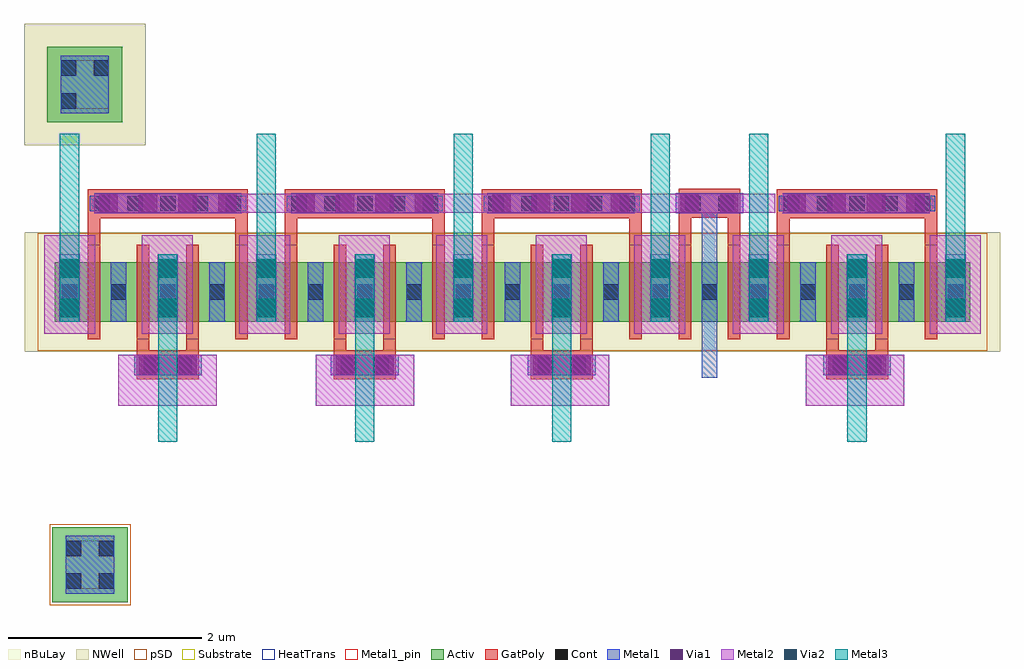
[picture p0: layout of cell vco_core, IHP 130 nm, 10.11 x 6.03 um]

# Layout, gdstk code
from math import pi, radians
import gdstk
lib = gdstk.Library(unit=1e-6, precision=1e-09)
def R(c, l, rs):  # rectangles x0, y0, x1, y1
    for r in rs: c.add(gdstk.rectangle(r[:2], r[2:], *l))
def A(c, l, x, y, w, h, nx, ny, dx, dy):  # array of equal rectangles
    R(c, l, [(x+i*dx, y+j*dy, x+i*dx+w, y+j*dy+h) for i in range(nx) for j in range(ny)])
Activ = (1, 0)
GatPoly = (5, 0)
Cont = (6, 0)
Metal1 = (8, 0)
Metal1_pin = (8, 2)
Metal2 = (10, 0)
pSD = (14, 0)
Via1 = (19, 0)
Via2 = (29, 0)
Metal3 = (30, 0)
NWell = (31, 0)
nBuLay = (32, 0)
Substrate = (40, 0)
HeatTrans = (51, 0)

ptap = lib.new_cell('ptap')
R(ptap, Activ, [(-0.425,-1.215,0.355,-0.435)])
R(ptap, Cont, [(-0.285,-1.075,-0.125,-0.915), (0.055,-1.075,0.215,-0.915), (-0.285,-0.735,-0.125,-0.575), (0.055,-0.735,0.215,-0.575)])
R(ptap, Metal1, [(-0.285,-1.125,0.215,-0.525)])
R(ptap, Metal1_pin, [(-0.285,-1.075,0.215,-0.575)])
R(ptap, pSD, [(-0.455,-1.245,0.385,-0.405)])

ntap = lib.new_cell('ntap')
R(ntap, Activ, [(-0.665,-0.22,0.115,0.56)])
R(ntap, Cont, [(-0.525,-0.08,-0.365,0.08), (-0.525,0.26,-0.365,0.42), (-0.185,0.26,-0.025,0.42)])
R(ntap, Metal1, [(-0.525,-0.13,-0.025,0.47)])
R(ntap, Metal1_pin, [(-0.525,-0.08,-0.025,0.42)])
R(ntap, NWell, [(-0.905,-0.46,0.355,0.8)])
R(ntap, nBuLay, [(-0.905,-0.46,0.355,0.8)])

pmos = lib.new_cell('pmos')
A(pmos, Activ, 0, 0, 0.3, 0.3, 19, 1, 0.51, 0)
R(pmos, Activ, [(0,0,9.48,0.62)])
A(pmos, GatPoly, 0.34, -0.18, 0.13, 0.98, 18, 1, 0.51, 0)
R(pmos, GatPoly, [(0.34,-0.18,0.47,0.8)])
A(pmos, Cont, 0.07, 0.23, 0.16, 0.16, 19, 1, 0.51, 0)
A(pmos, Metal1, 0.58, 0, 0.16, 0.62, 18, 1, 0.51, 0)
R(pmos, Metal1, [(0.07,0,0.23,0.62), (0.07,0,0.23,0.62), (0.58,0,0.74,0.62)])
R(pmos, pSD, [(-0.18,-0.3,9.66,0.92)])
R(pmos, NWell, [(-0.31,-0.31,9.79,0.93)])
R(pmos, Substrate, [(9.18,0,9.48,0.3)])
A(pmos, HeatTrans, 0.34, -0.18, 0.13, 0.98, 18, 1, 0.51, 0)
pmos.add(gdstk.Label('pmos', (0.405,0.31), layer=63, texttype=0))
pmos.add(gdstk.Label('pmos', (0.405,0.31), layer=51, texttype=0))
pmos.add(gdstk.Label('pmos', (0.915,0.31), layer=51, texttype=0))
pmos.add(gdstk.Label('pmos', (1.425,0.31), layer=51, texttype=0))
pmos.add(gdstk.Label('pmos', (1.935,0.31), layer=51, texttype=0))
pmos.add(gdstk.Label('pmos', (2.445,0.31), layer=51, texttype=0))
pmos.add(gdstk.Label('pmos', (2.955,0.31), layer=51, texttype=0))
pmos.add(gdstk.Label('pmos', (3.465,0.31), layer=51, texttype=0))
pmos.add(gdstk.Label('pmos', (3.975,0.31), layer=51, texttype=0))
pmos.add(gdstk.Label('pmos', (4.485,0.31), layer=51, texttype=0))
pmos.add(gdstk.Label('pmos', (4.995,0.31), layer=51, texttype=0))
pmos.add(gdstk.Label('pmos', (5.505,0.31), layer=51, texttype=0))
pmos.add(gdstk.Label('pmos', (6.015,0.31), layer=51, texttype=0))
pmos.add(gdstk.Label('pmos', (6.525,0.31), layer=51, texttype=0))
pmos.add(gdstk.Label('pmos', (7.035,0.31), layer=51, texttype=0))
pmos.add(gdstk.Label('pmos', (7.545,0.31), layer=51, texttype=0))
pmos.add(gdstk.Label('pmos', (8.055,0.31), layer=51, texttype=0))
pmos.add(gdstk.Label('pmos', (8.565,0.31), layer=51, texttype=0))
pmos.add(gdstk.Label('pmos', (9.075,0.31), layer=51, texttype=0))

via = lib.new_cell('Via')
R(via, GatPoly, [(-0.32,-0.15,0.32,0.15)])
R(via, Cont, [(-0.25,-0.08,-0.09,0.08), (0.09,-0.08,0.25,0.08)])
R(via, Metal1, [(-0.3,-0.08,0.3,0.08)])

via_3 = lib.new_cell('Via$3')
R(via_3, GatPoly, [(-0.15,-0.83,0.15,0.83)])
A(via_3, Cont, -0.08, -0.76, 0.16, 0.16, 1, 5, 0, 0.34)
R(via_3, Metal1, [(-0.08,-0.81,0.08,0.81)])

via_2 = lib.new_cell('Via$2')
R(via_2, Metal1, [(-0.105,-0.35,0.105,0.35)])
R(via_2, Metal2, [(-0.1,-0.35,0.1,0.35)])
R(via_2, Via1, [(-0.095,-0.3,0.095,-0.11), (-0.095,0.11,0.095,0.3)])

via_4 = lib.new_cell('Via$4')
R(via_4, Metal2, [(-0.35,-0.1,0.35,0.1)])
R(via_4, Via2, [(-0.3,-0.095,-0.11,0.095), (0.11,-0.095,0.3,0.095)])
R(via_4, Metal3, [(-0.35,-0.1,0.35,0.1)])

via_6 = lib.new_cell('Via$6')
R(via_6, Metal1, [(-0.35,-0.105,0.35,0.105)])
R(via_6, Metal2, [(-0.35,-0.1,0.35,0.1)])
R(via_6, Via1, [(-0.3,-0.095,-0.11,0.095), (0.11,-0.095,0.3,0.095)])

via_7 = lib.new_cell('Via$7')
R(via_7, Metal1, [(-0.76,-0.105,0.76,0.105)])
R(via_7, Metal2, [(-0.76,-0.1,0.76,0.1)])
A(via_7, Via1, -0.71, -0.095, 0.19, 0.19, 4, 1, 0.41, 0)

vco_core = lib.new_cell('vco_core')
A(vco_core, GatPoly, 1.16, 3.295, 0.13, 0.415, 3, 1, 2.04, 0)
A(vco_core, GatPoly, 1.67, 3.31, 0.13, 0.4, 3, 1, 2.04, 0)
A(vco_core, GatPoly, 0.65, 4.67, 0.13, 0.47, 3, 1, 2.04, 0)
A(vco_core, GatPoly, 2.18, 4.67, 0.13, 0.45, 3, 1, 2.04, 0)
R(vco_core, GatPoly, [(8.3,3.295,8.43,3.71), (8.81,3.31,8.94,3.71), (6.77,4.62,6.9,4.695), (7.28,4.62,7.41,4.7), (7.79,4.67,7.92,5.14), (9.32,4.67,9.45,5.12), (6.77,4.695,6.9,5.04), (7.28,4.695,7.41,5.01)])
R(vco_core, Metal1, [(7.01,3.31,7.17,3.89), (7.01,4.48,7.17,4.515), (7.01,4.515,7.17,5.05)])
A(vco_core, Metal2, 0.2, 3.77, 0.53, 1.02, 3, 1, 1.01, 0)
A(vco_core, Metal2, 5.29, 3.77, 0.53, 1.02, 5, 1, 1.02, 0)
R(vco_core, Metal2, [(0.965,3.02,1.985,3.55), (3.01,3.02,4.03,3.55), (5.03,3.02,6.05,3.55), (8.09,3.02,9.11,3.55), (3.25,3.77,3.78,4.79), (4.26,3.77,4.79,4.79), (2.24,5.02,7.11,5.22), (7.11,5.02,7.77,5.22)])
A(vco_core, Metal3, 1.38, 2.65, 0.2, 1.25, 3, 1, 2.04, 0)
R(vco_core, Metal3, [(8.52,2.65,8.72,3.9), (0.36,4.59,0.56,5.84), (2.4,4.59,2.6,5.84), (2.4,4.59,2.6,5.84), (4.44,4.59,4.64,5.84), (4.44,4.59,4.64,5.84), (6.48,4.59,6.68,5.84), (7.5,4.59,7.7,5.84), (9.54,4.59,9.74,5.84)])
vco_core.add(gdstk.Reference(ptap, (0.71,2.2)))
vco_core.add(gdstk.Reference(ntap, (0.895,6.18)))
vco_core.add(gdstk.Reference(pmos, (0.31,3.89)))
vco_core.add(gdstk.Reference(via, (1.48,3.445)))
vco_core.add(gdstk.Reference(via_3, (1.48,5.115), rotation=pi/2))
vco_core.add(gdstk.Reference(via_2, (0.46,4.24)))
vco_core.add(gdstk.Reference(via_2, (2.5,4.24)))
vco_core.add(gdstk.Reference(via_4, (0.46,4.24), rotation=pi/2))
vco_core.add(gdstk.Reference(via_4, (2.5,4.24), rotation=pi/2))
vco_core.add(gdstk.Reference(via_2, (1.48,4.24)))
vco_core.add(gdstk.Reference(via_4, (1.48,4.24), rotation=pi/2))
vco_core.add(gdstk.Reference(via, (3.52,3.445)))
vco_core.add(gdstk.Reference(via_3, (3.52,5.115), rotation=pi/2))
vco_core.add(gdstk.Reference(via_2, (2.5,4.24)))
vco_core.add(gdstk.Reference(via_2, (4.54,4.24)))
vco_core.add(gdstk.Reference(via_4, (2.5,4.24), rotation=pi/2))
vco_core.add(gdstk.Reference(via_4, (4.54,4.24), rotation=pi/2))
vco_core.add(gdstk.Reference(via_2, (3.52,4.24)))
vco_core.add(gdstk.Reference(via_4, (3.52,4.24), rotation=pi/2))
vco_core.add(gdstk.Reference(via, (5.56,3.445)))
vco_core.add(gdstk.Reference(via_3, (5.56,5.115), rotation=pi/2))
vco_core.add(gdstk.Reference(via_2, (4.54,4.24)))
vco_core.add(gdstk.Reference(via_2, (6.58,4.24)))
vco_core.add(gdstk.Reference(via_4, (4.54,4.24), rotation=pi/2))
vco_core.add(gdstk.Reference(via_4, (6.58,4.24), rotation=pi/2))
vco_core.add(gdstk.Reference(via_2, (5.56,4.24)))
vco_core.add(gdstk.Reference(via_4, (5.56,4.24), rotation=pi/2))
vco_core.add(gdstk.Reference(via_6, (3.52,3.445)))
vco_core.add(gdstk.Reference(via_6, (5.56,3.445)))
vco_core.add(gdstk.Reference(via_6, (1.48,3.445)))
vco_core.add(gdstk.Reference(via_7, (1.48,5.12)))
vco_core.add(gdstk.Reference(via_7, (3.52,5.12)))
vco_core.add(gdstk.Reference(via_7, (5.55,5.12)))
vco_core.add(gdstk.Reference(via_2, (7.6,4.24)))
vco_core.add(gdstk.Reference(via_4, (7.6,4.24), rotation=pi/2))
vco_core.add(gdstk.Reference(via, (7.09,5.12)))
vco_core.add(gdstk.Reference(via_6, (7.09,5.12)))
vco_core.add(gdstk.Reference(via, (8.62,3.445)))
vco_core.add(gdstk.Reference(via_2, (8.62,4.24)))
vco_core.add(gdstk.Reference(via_4, (8.62,4.24), rotation=pi/2))
vco_core.add(gdstk.Reference(via_6, (8.62,3.445)))
vco_core.add(gdstk.Reference(via_3, (8.62,5.115), rotation=pi/2))
vco_core.add(gdstk.Reference(via_7, (8.61,5.12)))
vco_core.add(gdstk.Reference(via_2, (9.64,4.24)))
vco_core.add(gdstk.Reference(via_4, (9.64,4.24), rotation=pi/2))

lib.write_gds('vco_core.gds')
